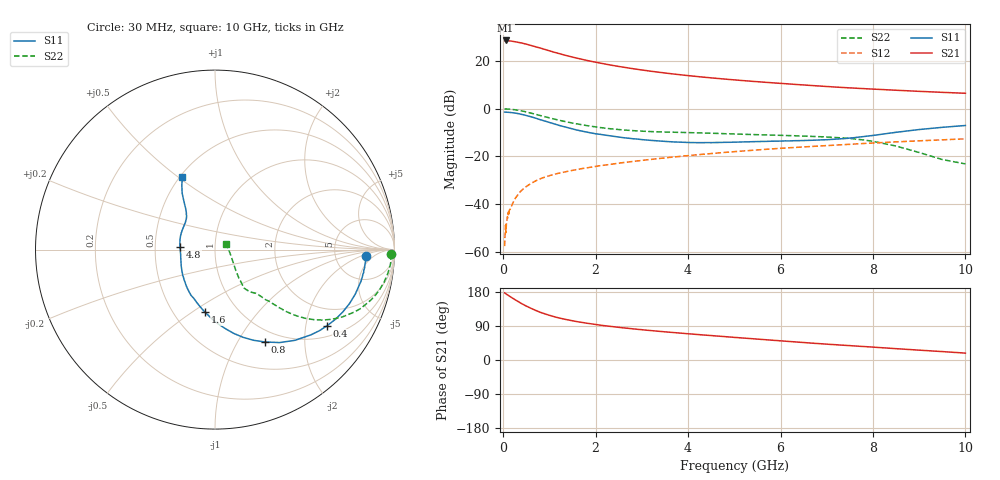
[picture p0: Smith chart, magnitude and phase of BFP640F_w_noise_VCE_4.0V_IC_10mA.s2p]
! Infineon Technologies  Discrete & RF Semiconductors
! BFP640F
! VCE =  4.0 V,  IC =  10 mA
! Common Emitter S-Parameters:  Apr 2013
# GHz  S  MA  R  50
!  f  S11  S21  S12  S22
! GHz  MAG  ANG  MAG  ANG  MAG  ANG  MAG  ANG
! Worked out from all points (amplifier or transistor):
!   99 points, 30 MHz to 10 GHz, reference 50 ohm
!   highest |S21| = 28.6 dB at 50 MHz (marker M1)
!   |S21| within 3 dB of that: start of sweep to 767.2 MHz
!   unconditionally stable (mu >= 1): 3.006 GHz to end of sweep
!   at 350 MHz: K = 0.23, MSG = 31.5 dB, |S12| = -35.2 dB
!   at 3.5 GHz: K = 1.03, MAG = 16.7 dB, |S12| = -20.7 dB
!   at 10 GHz: K = 1.07, MAG = 7.9 dB, |S12| = -12.7 dB
!   lowest NFmin = 0.63 dB at 450 MHz
!   S11 on the Smith chart (normalised r, x): 30 MHz: 11, -3; 400 MHz: 1.34, -2.65; 800 MHz: 0.84, -1.31; 1.6 GHz: 0.71, -0.57; 4.8 GHz: 0.67, +0.02; 10 GHz: 0.52, +0.52
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0.03  0.8447 -2.6  26.57 177.0  0.0013 51.9  0.9827 -1.5
0.05  0.8414 -4.4  26.87 175.5  0.0036 55.8  0.9832 -2.6
0.15  0.8291 -13.3  26.26 167.3  0.0077 76.2  0.9708 -8.1
0.2  0.82 -17.6  25.82 163.4  0.01 79.9  0.9603 -10.7
0.3  0.7926 -25.9  24.82 155.9  0.0148 74.7  0.9303 -15.7
0.4  0.7551 -34.1  23.75 148.7  0.0193 73.6  0.8915 -20.2
0.5  0.7152 -41.6  22.46 142.3  0.0232 70.9  0.8499 -24.2
0.6  0.6738 -48.6  21.11 136.4  0.0269 68.9  0.8035 -27.8
0.8  0.5852 -61.6  18.64 125.9  0.0336 65.2  0.717 -33.2
1  0.5122 -72.4  16.29 117.9  0.0391 62.4  0.6384 -37.0
1.2  0.4473 -82.0  14.34 111.2  0.0441 60.8  0.5737 -39.5
1.4  0.3975 -90.6  12.71 105.9  0.0485 59.7  0.5199 -41.2
1.6  0.3539 -98.8  11.41 101.2  0.0528 58.7  0.4769 -42.3
1.7  0.3372 -102.6  10.83 99.2  0.055 58.6  0.458 -42.6
2.1  0.2883 -117.4  8.992 92.0  0.0636 57.5  0.4 -44.6
2.4  0.261 -127.1  7.953 87.6  0.0694 56.9  0.3711 -45.4
3.4  0.2083 -154.9  5.736 75.4  0.0904 54.6  0.3242 -48.0
4.8  0.1962 175.2  4.155 61.6  0.1206 50.1  0.2972 -50.9
5.1  0.1985 169.7  3.931 58.8  0.1271 48.9  0.2915 -51.4
6.7  0.2168 143.4  3.037 44.3  0.1611 41.9  0.2603 -52.9
8.5  0.3182 122.9  2.427 29.9  0.2005 33.3  0.1639 -45.0
10  0.442 114.2  2.094 18.2  0.2321 25.4  0.0691 25.8
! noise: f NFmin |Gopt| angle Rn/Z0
0.45  0.63  0.2  7  0.06
0.9  0.63  0.19  19  0.06
1.5  0.65  0.18  28  0.07
1.9  0.67  0.17  43  0.08
2.4  0.7  0.15  55  0.08
3.5  0.79  0.12  85  0.1
5.5  0.99  0.13  -177  0.13
10  1.54  0.4  -98  0.34
